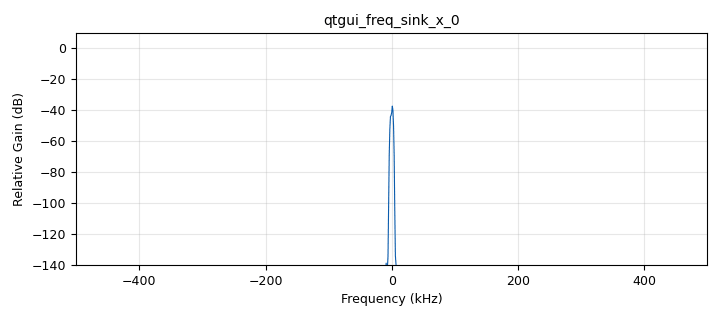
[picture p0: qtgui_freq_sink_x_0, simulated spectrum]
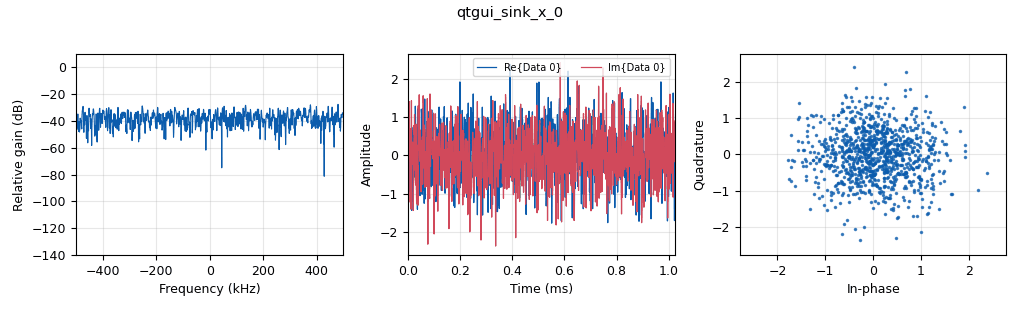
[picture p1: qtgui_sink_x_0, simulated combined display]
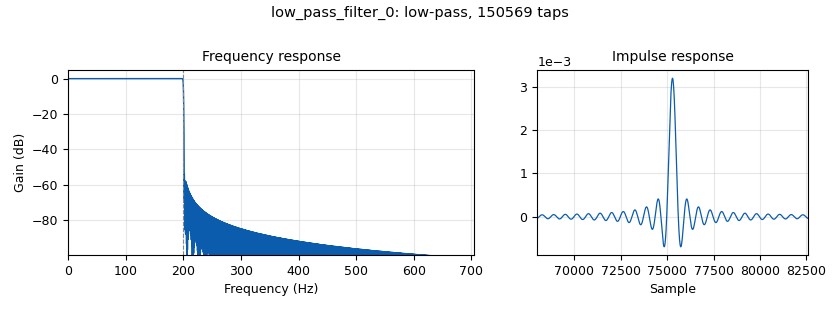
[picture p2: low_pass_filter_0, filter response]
options:
  parameters:
    generate_options: qt_gui
    id: top_block
    output_language: python
    title: Not titled yet
  states: {}

blocks:
- name: samp_rate
  id: variable
  parameters:
    value: '1000000'
  states: {}
- name: analog_noise_source_x_0
  id: analog_noise_source_x
  parameters:
    amp: '1'
    noise_type: analog.GR_GAUSSIAN
    seed: '0'
    type: complex
  states: {}
- name: blocks_throttle2_0
  id: blocks_throttle2
  parameters:
    samples_per_second: samp_rate
    type: complex
  states: {}
- name: low_pass_filter_0
  id: low_pass_filter
  parameters:
    cutoff_freq: '200'
    decim: '1'
    gain: '1'
    samp_rate: samp_rate/8
    type: fir_filter_ccf
    width: '2'
    win: window.WIN_HAMMING
  states: {}
- name: qtgui_freq_sink_x_0
  id: qtgui_freq_sink_x
  parameters:
    bw: samp_rate
    fc: '0'
    fftsize: '1024'
    type: complex
  states: {}
- name: qtgui_sink_x_0
  id: qtgui_sink_x
  parameters:
    bw: samp_rate
    fc: '0'
    fftsize: '1024'
    type: complex
  states: {}

connections:
- [analog_noise_source_x_0, '0', blocks_throttle2_0, '0']
- [blocks_throttle2_0, '0', low_pass_filter_0, '0']
- [blocks_throttle2_0, '0', qtgui_sink_x_0, '0']
- [low_pass_filter_0, '0', qtgui_freq_sink_x_0, '0']

metadata:
  file_format: 1
  grc_version: 3.10.7.0
